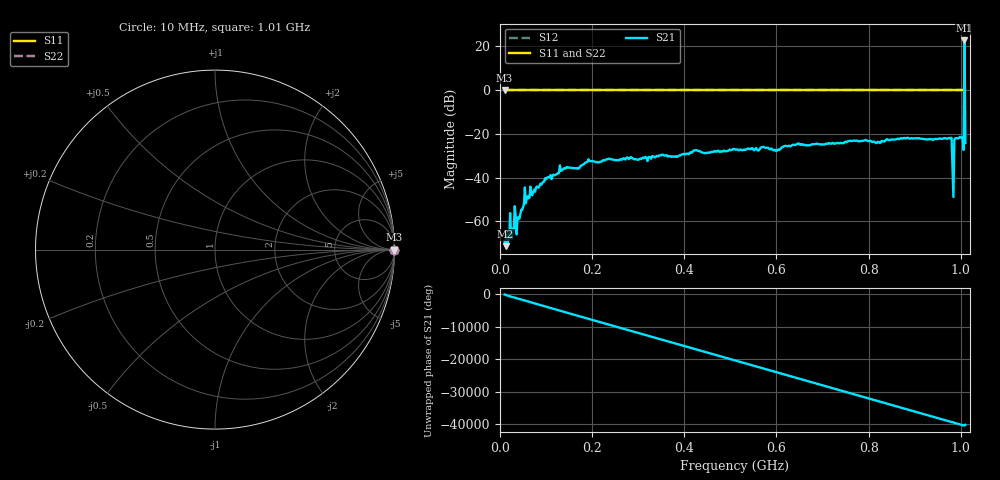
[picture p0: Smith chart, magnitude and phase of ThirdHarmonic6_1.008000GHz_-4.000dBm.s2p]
! 8/16/2025 8:14:52 AM
! C:\ANRITSUVNA\TEMP\TEMP.S2P
! CHANNEL.1
! TR.MEASUREMENT
! RAW.DATA
! RF.CORRECTION.OFF
! AVERAGING.OFF
! IF.BANDWIDTH: 5KHZ
! SWEEPTYPE:  FREQ.SWEEP(Linear)
! Reference Plane Port Info
! PORT:  PORT1  PORT2
! DISTANCE:  0  m  0  m
! TIME:  0  s  0  s
! PHASE.OFFSET:  0  deg.  0  deg.
! LOSS:  0  dB  0  dB
! REF.LOSS:  0  dB  0  dB
! REF.FREQ:  0  Hz  0  Hz
! Power Info
! POWER:  -20  dBm  -20  dBm
! EFF.POWER:  -20  dBm  -20  dBm
! SOURCE.ATTEN:  0  dB  0  dB
! TEST.ATTEN:  0  dB  0  dB
# GHZ S RI R 50.0
! FREQ.GHZ  S11RE  S11IM  S21RE  S21IM  S12RE  S12IM  S22RE  S22IM
!; PortSelection: Port_12
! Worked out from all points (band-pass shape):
!   501 points, 10 MHz to 1.01 GHz, reference 50 ohm
!   highest |S21| = 22.64 dB at 1.008 GHz (marker M1); lowest = -71.3 dB at 12 MHz (marker M2)
!   |S21| within 3 dB of the highest: 1.00788 GHz to 1.008128 GHz (248.4 kHz wide, 0.0246 % of centre)
!   lowest |S11| = 0.0 dB at 10 MHz (marker M3)
!   |S11| at or under -10 dB: nowhere
!   |S22| runs from 0.0 to 0.0 dB; largest |S21 - S12| = 13
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0.01  1 0  -0.000198 -0.000299  1 0  1 0
0.012  1 0  -0.000266 6.18e-05  1 0  1 0
0.036  1 0  -0.000473 -0.000187  1 0  1 0
0.04  1 0  0.00107 0.000682  1 0  1 0
0.05  1 0  0.00209 -0.000228  1 0  1 0
0.058  1 0  0.00304 0.00133  1 0  1 0
0.134  1 0  -0.0143 0.00259  1 0  1 0
0.178  1 0  -0.0185 -0.00467  1 0  1 0
0.196  1 0  -0.024 -0.000294  1 0  1 0
0.344  1 0  0.0303 -0.00479  1 0  1 0
0.51  1 0  -0.0419 0.0137  1 0  1 0
0.602  1 0  0.0126 0.0409  1 0  1 0
0.678  1 0  -0.016 -0.0556  1 0  1 0
0.844  1 0  0.0427 0.0576  1 0  1 0
0.976  1 0  -0.0587 0.0543  1 0  1 0
0.98  1 0  0.075 -0.0313  1 0  1 0
0.986  1 0  -0.00705 0.0739  1 0  1 0
0.99  1 0  0.0318 -0.0738  1 0  1 0
1.002  1 0  -0.079 0.013  1 0  1 0
1.004  1 0  -0.00182 0.0824  1 0  1 0
1.008  1 0  11.95 6.383  1 0  1 0
1.01  1 0  -0.0607 -0.0136  1 0  1 0
